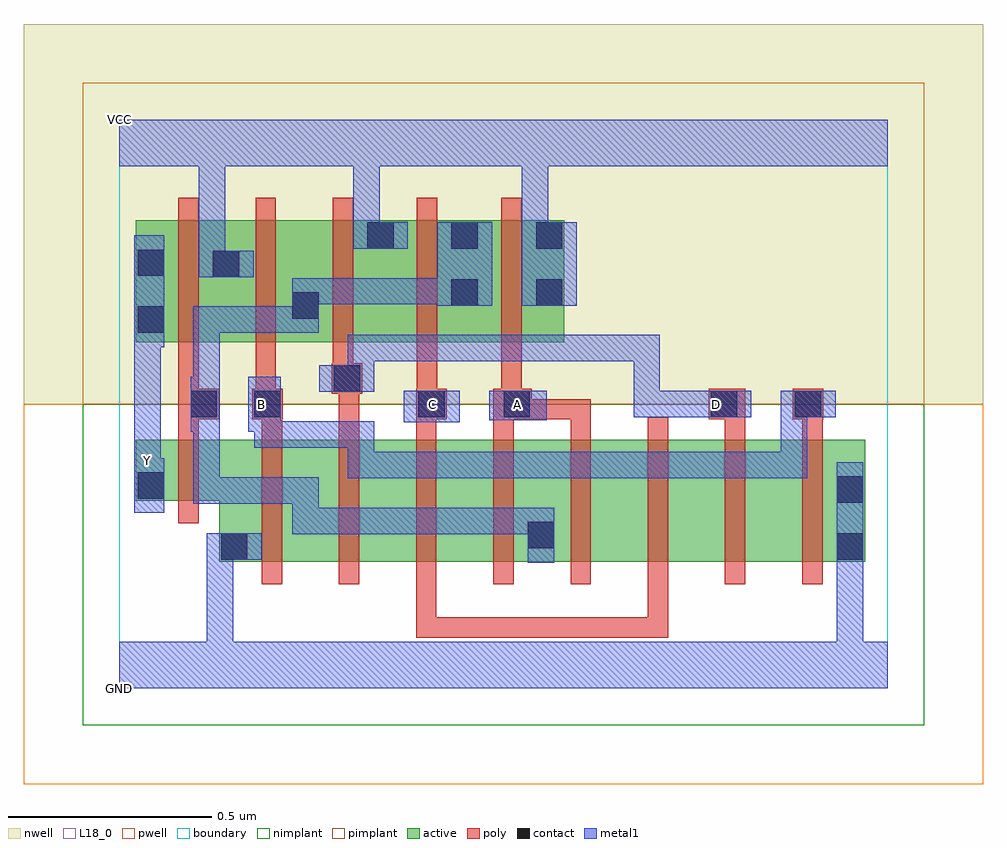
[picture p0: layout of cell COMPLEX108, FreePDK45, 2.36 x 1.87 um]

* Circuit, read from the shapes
.subckt COMPLEX108 A B C D GND VCC Y
M1 GND n1 Y VSUBS nfet w=0.15u l=0.05u
M2 n2 B GND VSUBS nfet w=0.3u l=0.05u
M3 n3 D n2 VSUBS nfet w=0.3u l=0.05u
M4 n4 C n3 VSUBS nfet w=0.3u l=0.05u
M5 n1 A n4 VSUBS nfet w=0.3u l=0.05u
M6 n5 A n1 VSUBS nfet w=0.3u l=0.05u
M7 n6 C n5 VSUBS nfet w=0.3u l=0.05u
M8 n7 D n6 VSUBS nfet w=0.3u l=0.05u
M9 GND B n7 VSUBS nfet w=0.3u l=0.05u
M10 VCC n1 Y n8 pfet w=0.3u l=0.05u
M11 n1 B VCC n8 pfet w=0.3u l=0.05u
M12 VCC D n1 n8 pfet w=0.3u l=0.05u
M13 n1 C VCC n8 pfet w=0.3u l=0.05u
M14 VCC A n1 n8 pfet w=0.3u l=0.05u
.ends

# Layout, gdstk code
import gdstk
lib = gdstk.Library(unit=1e-6, precision=1e-09)
def R(c, l, rs):  # rectangles x0, y0, x1, y1
    for r in rs: c.add(gdstk.rectangle(r[:2], r[2:], *l))
def A(c, l, x, y, w, h, nx, ny, dx, dy):  # array of equal rectangles
    R(c, l, [(x+i*dx, y+j*dy, x+i*dx+w, y+j*dy+h) for i in range(nx) for j in range(ny)])
active = (1, 0)
pwell = (2, 0)
nwell = (3, 0)
nimplant = (4, 0)
pimplant = (5, 0)
poly = (9, 0)
contact = (10, 0)
metal1 = (11, 0)
L18_0 = (18, 0)
boundary = (235, 0)

complex108 = lib.new_cell('COMPLEX108')
R(complex108, active, [(0.245,0.312,0.32,0.612), (0.245,0.312,0.47,0.612), (0.47,0.312,0.66,0.612), (0.66,0.312,0.85,0.612), (0.85,0.312,1.075,0.612), (1,0.312,1.23,0.612), (1,0.312,1.075,0.517), (1.23,0.312,1.42,0.612), (1.42,0.312,1.61,0.612), (1.61,0.312,1.835,0.612), (1.76,0.312,1.835,0.612), (0.04,0.462,0.32,0.612), (0.04,0.462,0.115,0.612), (0.04,0.852,0.3,1.152), (0.04,0.852,0.115,1.085), (0.225,0.852,0.495,1.152), (0.42,0.852,0.68,1.152), (0.605,0.852,0.887,1.152), (0.812,0.852,1.095,1.152), (0.42,0.87,0.495,1.152), (0.225,0.912,0.3,1.152), (0.605,0.912,0.68,1.152), (0.812,0.937,0.887,1.152), (1.02,0.937,1.095,1.152)])
R(complex108, pwell, [(-0.235,-0.235,2.125,0.7)])
R(complex108, nwell, [(-0.235,0.7,2.125,1.635)])
R(complex108, nimplant, [(-0.09,-0.09,1.98,0.7)])
R(complex108, pimplant, [(-0.09,0.7,1.98,1.49)])
A(complex108, poly, 0.35, 0.257, 0.05, 0.41, 8, 1, 0.19, 0)
A(complex108, poly, 0.73, 0.617, 0.05, 0.095, 3, 1, 0.19, 0)
A(complex108, poly, 0.145, 0.797, 0.05, 0.41, 3, 1, 0.19, 0)
R(complex108, poly, [(0.73,0.125,0.78,0.307), (0.73,0.125,0.78,0.175), (0.73,0.125,0.78,0.175), (0.73,0.125,0.78,0.175), (0.73,0.125,1.027,0.175), (0.977,0.125,1.027,0.175), (0.977,0.125,1.027,0.175), (0.977,0.125,1.027,0.175), (0.977,0.125,1.16,0.175), (1.11,0.125,1.35,0.175), (1.11,0.125,1.16,0.175), (1.11,0.125,1.16,0.175), (1.11,0.125,1.16,0.175), (1.3,0.125,1.35,0.307), (1.3,0.125,1.35,0.175), (0.145,0.407,0.195,0.667), (0.145,0.617,0.195,0.712), (0.35,0.617,0.4,0.712), (0.54,0.617,0.59,0.775), (1.49,0.617,1.54,0.712), (1.68,0.617,1.73,0.712), (0.145,0.662,0.245,0.737), (0.327,0.662,0.402,0.737), (0.73,0.662,0.805,0.737), (0.92,0.662,1.015,0.737), (0.965,0.662,1.015,0.712), (0.965,0.662,1.015,0.712), (0.965,0.662,1.16,0.712), (1.11,0.662,1.16,0.712), (1.45,0.662,1.54,0.737), (1.657,0.662,1.732,0.737), (0.145,0.687,0.195,0.847), (0.335,0.687,0.385,0.847), (0.732,0.687,0.782,0.847), (0.94,0.687,0.99,0.847), (0.522,0.725,0.597,0.8), (0.525,0.75,0.575,0.847), (0.732,0.797,0.782,1.207), (0.94,0.797,0.99,1.207)])
R(complex108, contact, [(0.25,0.317,0.315,0.382), (1.765,0.317,1.83,0.382), (1.005,0.345,1.07,0.41), (1.765,0.457,1.83,0.522), (0.045,0.467,0.11,0.532), (0.175,0.667,0.24,0.732), (0.332,0.667,0.397,0.732), (0.735,0.667,0.8,0.732), (0.945,0.667,1.01,0.732), (1.455,0.667,1.52,0.732), (1.662,0.667,1.727,0.732), (0.527,0.73,0.592,0.795), (0.045,0.875,0.11,0.94), (0.425,0.91,0.49,0.975), (0.817,0.942,0.882,1.007), (1.025,0.942,1.09,1.007), (0.23,1.012,0.295,1.077), (0.045,1.015,0.11,1.08), (0.61,1.082,0.675,1.147), (0.817,1.082,0.882,1.147), (1.025,1.082,1.09,1.147)])
R(complex108, metal1, [(0,0,1.89,0.115), (0.215,0.05,0.28,0.115), (0.215,0.05,0.28,0.115), (0.215,0.05,0.28,0.382), (1.765,0.05,1.83,0.347), (1.765,0.282,1.83,0.347), (1.765,0.282,1.83,0.347), (1.765,0.282,1.83,0.347), (1.765,0.282,1.83,0.347), (1.765,0.282,1.83,0.557), (1.005,0.31,1.07,0.445), (0.215,0.317,0.28,0.382), (0.215,0.317,0.28,0.382), (0.215,0.317,0.35,0.382), (0.425,0.38,0.627,0.445), (0.425,0.38,0.49,0.52), (0.562,0.38,0.627,0.445), (0.562,0.38,0.627,0.445), (0.562,0.38,0.627,0.445), (0.562,0.38,0.837,0.445), (0.772,0.38,0.837,0.445), (0.772,0.38,0.837,0.445), (0.772,0.38,0.837,0.445), (0.772,0.38,1.055,0.445), (0.99,0.38,1.055,0.445), (0.99,0.38,1.07,0.445), (0.037,0.432,0.11,0.567), (0.182,0.455,0.247,0.52), (0.182,0.455,0.247,0.52), (0.182,0.455,0.247,0.52), (0.182,0.455,0.42,0.52), (0.182,0.455,0.247,0.697), (0.355,0.455,0.42,0.52), (0.355,0.455,0.49,0.52), (0.037,0.492,0.102,0.627), (0.037,0.502,0.102,0.567), (0.562,0.517,0.837,0.582), (0.562,0.517,0.627,0.595), (0.772,0.517,0.837,0.582), (0.772,0.517,0.837,0.582), (0.772,0.517,0.837,0.582), (0.772,0.517,1.055,0.582), (0.99,0.517,1.055,0.582), (0.99,0.517,1.055,0.582), (0.99,0.517,1.067,0.582), (1.002,0.517,1.192,0.582), (1.127,0.517,1.192,0.582), (1.127,0.517,1.33,0.582), (1.265,0.517,1.33,0.582), (1.265,0.517,1.33,0.582), (1.265,0.517,1.33,0.582), (1.265,0.517,1.555,0.582), (1.49,0.517,1.555,0.582), (1.49,0.517,1.555,0.582), (1.49,0.517,1.555,0.582), (1.49,0.517,1.692,0.582), (1.627,0.517,1.692,0.582), (1.627,0.517,1.692,0.732), (0.562,0.53,0.627,0.595), (0.562,0.53,0.627,0.657), (0.037,0.562,0.102,0.905), (0.332,0.592,0.397,0.657), (0.332,0.592,0.627,0.657), (0.332,0.592,0.397,0.697), (0.175,0.632,0.24,0.767), (0.175,0.632,0.247,0.697), (0.182,0.632,0.247,0.697), (0.182,0.632,0.247,0.94), (0.317,0.632,0.397,0.767), (0.332,0.632,0.397,0.697), (0.332,0.632,0.397,0.697), (0.7,0.655,0.837,0.732), (0.91,0.66,1.052,0.732), (1.265,0.667,1.33,0.732), (1.265,0.667,1.33,0.732), (1.265,0.667,1.33,0.732), (1.265,0.667,1.467,0.732), (1.265,0.667,1.33,0.87), (1.402,0.667,1.555,0.732), (1.402,0.667,1.485,0.732), (1.42,0.667,1.485,0.732), (1.627,0.667,1.692,0.732), (1.627,0.667,1.692,0.732), (1.627,0.667,1.762,0.732), (0.492,0.73,0.627,0.795), (0.562,0.73,0.627,0.795), (0.562,0.73,0.627,0.795), (0.562,0.73,0.627,0.87), (0.562,0.805,0.627,0.87), (0.562,0.805,0.837,0.87), (0.772,0.805,0.837,0.87), (0.772,0.805,0.837,0.87), (0.772,0.805,0.837,0.87), (0.772,0.805,1.055,0.87), (0.99,0.805,1.055,0.87), (0.99,0.805,1.192,0.87), (1.127,0.805,1.192,0.87), (1.127,0.805,1.192,0.87), (1.127,0.805,1.192,0.87), (1.127,0.805,1.33,0.87), (1.265,0.805,1.33,0.87), (0.037,0.84,0.11,1.115), (0.182,0.875,0.247,0.94), (0.182,0.875,0.42,0.94), (0.355,0.875,0.42,0.94), (0.355,0.875,0.49,0.94), (0.425,0.875,0.49,1.01), (0.782,0.942,0.917,1.147), (0.99,0.942,1.125,1.147), (0.425,0.945,0.49,1.01), (0.425,0.945,0.49,1.01), (0.425,0.945,0.627,1.01), (0.562,0.945,0.627,1.01), (0.562,0.945,0.627,1.01), (0.562,0.945,0.627,1.01), (0.562,0.945,0.837,1.01), (0.772,0.945,0.837,1.01), (0.772,0.945,0.847,1.01), (0.195,1.012,0.33,1.077), (0.195,1.012,0.26,1.35), (0.575,1.082,0.64,1.147), (0.575,1.082,0.64,1.147), (0.575,1.082,0.71,1.147), (0.575,1.082,0.64,1.35), (0.99,1.082,1.055,1.147), (0.99,1.082,1.055,1.147), (0.99,1.082,1.055,1.35), (0,1.285,1.89,1.4), (0.195,1.285,0.26,1.35), (0.195,1.285,0.26,1.35)])
R(complex108, L18_0, [(0,0,1.89,0.115), (0.215,0.05,0.28,0.115), (0.215,0.05,0.28,0.115), (0.215,0.05,0.28,0.382), (1.765,0.05,1.83,0.347), (1.765,0.282,1.83,0.347), (1.765,0.282,1.83,0.347), (1.765,0.282,1.83,0.347), (1.765,0.282,1.83,0.347), (1.765,0.282,1.83,0.557), (0.215,0.317,0.28,0.382), (0.215,0.317,0.28,0.382), (0.215,0.317,0.35,0.382), (0.037,0.432,0.11,0.567), (0.037,0.492,0.102,0.627), (0.037,0.502,0.102,0.567), (0.562,0.517,0.627,0.595), (0.562,0.517,0.837,0.582), (0.772,0.517,0.837,0.582), (0.772,0.517,0.837,0.582), (0.772,0.517,0.837,0.582), (0.772,0.517,1.055,0.582), (0.99,0.517,1.055,0.582), (0.99,0.517,1.055,0.582), (0.99,0.517,1.067,0.582), (1.002,0.517,1.192,0.582), (1.127,0.517,1.192,0.582), (1.127,0.517,1.33,0.582), (1.265,0.517,1.33,0.582), (1.265,0.517,1.33,0.582), (1.265,0.517,1.33,0.582), (1.265,0.517,1.555,0.582), (1.49,0.517,1.555,0.582), (1.49,0.517,1.555,0.582), (1.49,0.517,1.555,0.582), (1.49,0.517,1.692,0.582), (1.627,0.517,1.692,0.582), (1.627,0.517,1.692,0.732), (0.037,0.527,0.102,0.592), (0.562,0.53,0.627,0.595), (0.562,0.53,0.627,0.657), (0.037,0.562,0.102,0.905), (0.332,0.592,0.397,0.657), (0.332,0.592,0.397,0.697), (0.332,0.592,0.627,0.657), (0.317,0.632,0.397,0.767), (0.332,0.632,0.397,0.697), (0.332,0.632,0.397,0.697), (0.7,0.655,0.837,0.732), (0.91,0.66,1.052,0.732), (0.317,0.667,0.382,0.732), (0.737,0.667,0.802,0.732), (0.947,0.667,1.012,0.732), (1.265,0.667,1.33,0.732), (1.265,0.667,1.33,0.732), (1.265,0.667,1.33,0.732), (1.265,0.667,1.467,0.732), (1.265,0.667,1.33,0.87), (1.402,0.667,1.485,0.732), (1.402,0.667,1.555,0.732), (1.42,0.667,1.485,0.732), (1.437,0.667,1.502,0.732), (1.627,0.667,1.692,0.732), (1.627,0.667,1.692,0.732), (1.627,0.667,1.762,0.732), (0.492,0.73,0.627,0.795), (0.562,0.73,0.627,0.795), (0.562,0.73,0.627,0.795), (0.562,0.73,0.627,0.87), (0.562,0.805,0.627,0.87), (0.562,0.805,0.837,0.87), (0.772,0.805,0.837,0.87), (0.772,0.805,0.837,0.87), (0.772,0.805,0.837,0.87), (0.772,0.805,1.055,0.87), (0.99,0.805,1.055,0.87), (0.99,0.805,1.192,0.87), (1.127,0.805,1.192,0.87), (1.127,0.805,1.192,0.87), (1.127,0.805,1.192,0.87), (1.127,0.805,1.33,0.87), (1.265,0.805,1.33,0.87), (0.037,0.84,0.11,1.115), (0.99,0.942,1.125,1.147), (0.195,1.012,0.33,1.077), (0.195,1.012,0.26,1.35), (0.575,1.082,0.64,1.147), (0.575,1.082,0.64,1.147), (0.575,1.082,0.71,1.147), (0.575,1.082,0.64,1.35), (0.99,1.082,1.055,1.147), (0.99,1.082,1.055,1.147), (0.99,1.082,1.055,1.35), (0,1.285,1.89,1.4), (0.195,1.285,0.26,1.35), (0.195,1.285,0.26,1.35)])
R(complex108, boundary, [(0,0,1.89,1.4)])
complex108.add(gdstk.Label('A', (0.98,0.7), layer=11, texttype=0))
complex108.add(gdstk.Label('B', (0.35,0.7), layer=11, texttype=0))
complex108.add(gdstk.Label('C', (0.77,0.7), layer=11, texttype=0))
complex108.add(gdstk.Label('D', (1.47,0.7), layer=11, texttype=0))
complex108.add(gdstk.Label('Y', (0.07,0.56), layer=11, texttype=0))
complex108.add(gdstk.Label('VCC', (0,1.4), layer=11, texttype=0))
complex108.add(gdstk.Label('GND', (0,0), layer=11, texttype=0))

lib.write_gds('COMPLEX108.gds')
